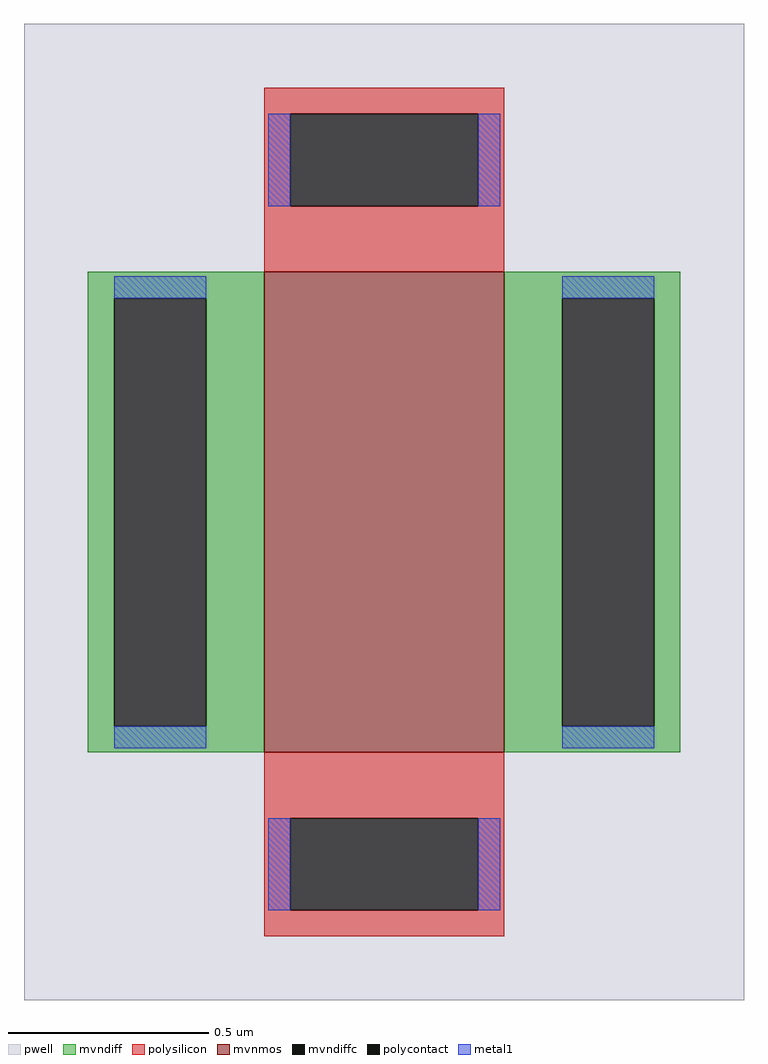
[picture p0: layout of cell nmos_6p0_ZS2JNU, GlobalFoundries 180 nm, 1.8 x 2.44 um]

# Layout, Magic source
magic
tech gf180mcuC
magscale 1 10
<< pwell >>
rect -180 -244 180 244
<< mvnmos >>
rect -60 -120 60 120
<< mvndiff >>
rect -148 107 -60 120
rect -148 -107 -135 107
rect -89 -107 -60 107
rect -148 -120 -60 -107
rect 60 107 148 120
rect 60 -107 89 107
rect 135 -107 148 107
rect 60 -120 148 -107
<< mvndiffc >>
rect -135 -107 -89 107
rect 89 -107 135 107
<< polysilicon >>
rect -60 199 60 212
rect -60 153 -47 199
rect 47 153 60 199
rect -60 120 60 153
rect -60 -153 60 -120
rect -60 -199 -47 -153
rect 47 -199 60 -153
rect -60 -212 60 -199
<< polycontact >>
rect -47 153 47 199
rect -47 -199 47 -153
<< metal1 >>
rect -58 153 -47 199
rect 47 153 58 199
rect -135 107 -89 118
rect -135 -118 -89 -107
rect 89 107 135 118
rect 89 -118 135 -107
rect -58 -199 -47 -153
rect 47 -199 58 -153
<< properties >>
string gencell nmos_6p0
string library gf180mcu
string parameters w 1.2 l 0.6 m 1 nf 1 diffcov 100 polycov 100 guard 0 glc 0 grc 0 gtc 0 gbc 0 tbcov 100 rlcov 100 topc 1 botc 1 poverlap 0 doverlap 1 lmin 0.6 wmin 0.3 full_metal 0 compatible {nmos_3p3 nmos_6p0 nmos_6p0_nat}
<< end >>
